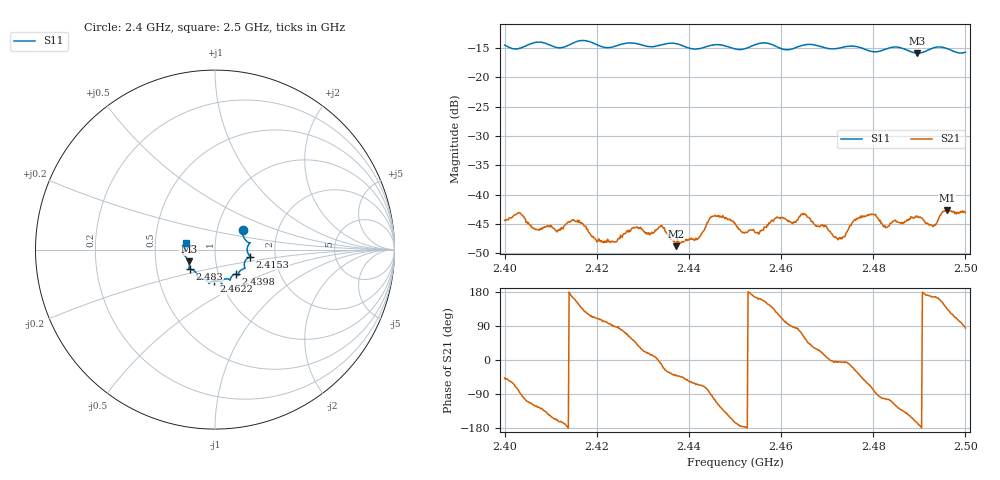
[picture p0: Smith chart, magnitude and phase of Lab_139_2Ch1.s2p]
# Hz S RI R 50
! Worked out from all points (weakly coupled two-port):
!   601 points, 2.4 GHz to 2.5 GHz, reference 50 ohm
!   highest |S21| = -42.63 dB at 2.496 GHz (marker M1); lowest = -48.8 dB at 2.4372 GHz (marker M2)
!   lowest |S11| = -15.9 dB at 2.4895 GHz (marker M3), VSWR 1.38, Z = 36.9 - j5 ohm
!   |S11| at or under -10 dB: start of sweep to end of sweep
!   S12 and S22 are empty: the file has one direction only
!   S11 on the Smith chart (normalised r, x): 2.4 GHz: 1.33, +0.29; 2.4153 GHz: 1.48, -0.12; 2.4398 GHz: 1.21, -0.34; 2.4622 GHz: 0.93, -0.33; 2.483 GHz: 0.74, -0.17; 2.5 GHz: 0.72, +0.06
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2.4e9  0.1554 0.1067  0.00407 -0.00442  0 0  0 0
2.403167e9  0.1668 0.0577  0.000742 -0.00697  0 0  0 0
2.4115e9  0.1792 0.00659  -0.00456 -0.00174  0 0  0 0
2.415333e9  0.1964 -0.0386  -0.0055 0.0022  0 0  0 0
2.416667e9  0.2019 -0.0428  -0.00425 0.0039  0 0  0 0
2.421667e9  0.1699 -0.0609  -0.000853 0.0039  0 0  0 0
2.433333e9  0.1309 -0.1334  0.00514 -4.08e-05  0 0  0 0
2.437167e9  0.1315 -0.1427  0.00278 -0.00232  0 0  0 0
2.439833e9  0.1152 -0.1365  0.00234 -0.00333  0 0  0 0
2.445167e9  0.0847 -0.1691  -0.000963 -0.00644  0 0  0 0
2.45e9  0.0647 -0.1626  -0.00551 -0.00145  0 0  0 0
2.454833e9  0.0359 -0.1894  -0.00457 0.00132  0 0  0 0
2.462167e9  -0.00728 -0.1738  4.67e-05 0.00579  0 0  0 0
2.466667e9  -0.0343 -0.1878  0.00469 0.00352  0 0  0 0
2.472667e9  -0.0767 -0.1605  0.00427 -0.000414  0 0  0 0
2.479333e9  -0.1054 -0.1303  0.00243 -0.00629  0 0  0 0
2.483e9  -0.1376 -0.1095  -0.00124 -0.00512  0 0  0 0
2.483333e9  -0.1402 -0.1093  -0.00131 -0.00519  0 0  0 0
2.4895e9  -0.1466 -0.0659  -0.00636 -0.00167  0 0  0 0
2.493167e9  -0.1772 -0.0264  -0.00531 0.00129  0 0  0 0
2.496e9  -0.1757 -0.0148  -0.00523 0.00521  0 0  0 0
2.5e9  -0.1595 0.0391  0.000711 0.00694  0 0  0 0
